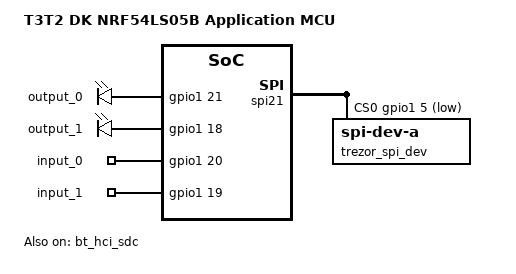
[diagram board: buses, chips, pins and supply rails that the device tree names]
/*
 * Copyright (c) 2025 Trezor Company s.r.o.
 *
 * SPDX-License-Identifier: LicenseRef-Nordic-5-Clause
 */

/dts-v1/;

#include "nrf54ls05b_cpuapp_common.dtsi"

/ {
	compatible = "trezor,t3t2_dk_nrf54ls05b-cpuapp";
	model = "T3T2 DK NRF54LS05B Application MCU";

	chosen {
		zephyr,code-partition = &slot0_partition;
		zephyr,sram = &cpuapp_sram;
		zephyr,bt-hci = &bt_hci_sdc;
	};

	/*
	 * GPIO handshake / control signals to the STM32 main SoC.
	 * These are defined at board level (not in the app overlay) so the
	 * separate MCUboot image sees them too. Net mapping per schematic:
	 *   output_1  spi-request         BLE_GPIO0  P1.18  (nRF -> STM, STM PE0)
	 *   input_1   spi-ready           BLE_GPIO1  P1.19  (STM -> nRF, STM PC13)
	 *   input_0   stay-in-bootloader  BLE_GPIO2  P1.20  (STM -> nRF, STM PE2)
	 *   output_0  reserved-output     BLE_GPIO3  P1.21  (nRF -> STM, STM PC7)
	 */
	outputs {
		compatible = "gpio-leds";
		output_0: output_0 {
			gpios = <&gpio1 21 GPIO_ACTIVE_HIGH>;
		};
		output_1: output_1 {
			gpios = <&gpio1 18 GPIO_ACTIVE_HIGH>;
		};
	};

	inputs {
		compatible = "gpio-keys";
		input_0: input_0 {
			gpios = <&gpio1 20 (GPIO_PULL_DOWN | GPIO_ACTIVE_HIGH)>;
		};
		input_1: input_1 {
			gpios = <&gpio1 19 (GPIO_PULL_DOWN | GPIO_ACTIVE_HIGH)>;
		};
	};

	aliases {
		/* MCUboot serial-recovery entry is the STM-driven stay-in-bootloader
		 * line; there is no dedicated recovery button (as on t3w1). */
		mcuboot-button0 = &input_0;
		spi-ready = &input_1;
		spi-request = &output_1;
		stay-in-bootloader = &input_0;
		reserved-output = &output_0;
	};
};

&bt_hci_sdc {
	status = "okay";
};

&bt_hci_controller {
	status = "disabled";
};

&spi21 {
	compatible = "nordic,nrf-spim";
	status = "okay";
	pinctrl-0 = <&spi_default>;
	pinctrl-1 = <&spi_sleep>;
	pinctrl-names = "default", "sleep";
	/* CS = BLE_NSS, P1.05 */
	cs-gpios = <&gpio1 5 GPIO_ACTIVE_LOW>;
	trezor_spi_dev: spi-dev-a@0 {
		reg = <0>;
	};
};
